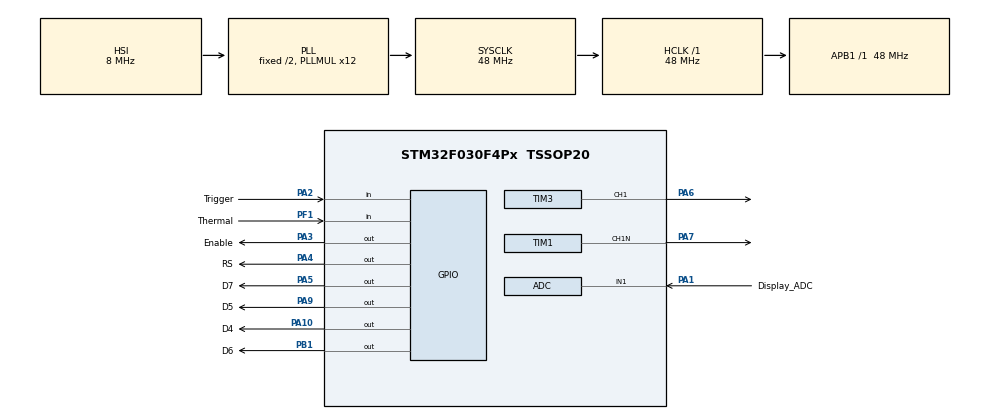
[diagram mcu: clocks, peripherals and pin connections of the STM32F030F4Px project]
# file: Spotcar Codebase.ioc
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ADC.ContinuousConvMode=ENABLE
ADC.DMAContinuousRequests=ENABLE
ADC.ExternalTrigConv=ADC_SOFTWARE_START
ADC.SamplingTime=ADC_SAMPLETIME_239CYCLES_5
Dma.ADC.0.Direction=DMA_PERIPH_TO_MEMORY
Dma.ADC.0.Instance=DMA1_Channel1
Dma.ADC.0.MemDataAlignment=DMA_MDATAALIGN_HALFWORD
Dma.ADC.0.MemInc=DMA_MINC_ENABLE
Dma.ADC.0.Mode=DMA_CIRCULAR
Dma.ADC.0.PeriphDataAlignment=DMA_PDATAALIGN_HALFWORD
Dma.ADC.0.PeriphInc=DMA_PINC_DISABLE
Dma.ADC.0.Priority=DMA_PRIORITY_LOW
Dma.Request0=ADC
Mcu.Family=STM32F0
Mcu.Name=STM32F030F4Px
Mcu.Package=TSSOP20
NVIC.DMA1_Channel1_IRQn=true\:0\:0\:false\:false\:true\:false\:true\:true
PA1.GPIO_Label=Display_ADC
PA1.Mode=IN1
PA1.Signal=ADC_IN1
PA10.GPIO_Label=D4
PA10.Signal=GPIO_Output
PA13.Mode=Serial_Wire
PA13.Signal=SYS_SWDIO
PA14.Mode=Serial_Wire
PA14.Signal=SYS_SWCLK
PA2.GPIO_Label=Trigger
PA2.Signal=GPIO_Input
PA3.GPIO_Label=Enable
PA3.Signal=GPIO_Output
PA4.GPIO_Label=RS
PA4.Signal=GPIO_Output
PA5.GPIO_Label=D7
PA5.Signal=GPIO_Output
PA6.Signal=S_TIM3_CH1
PA7.Mode=PWM Generation1 CH1N
PA7.Signal=TIM1_CH1N
PA9.GPIO_Label=D5
PA9.Signal=GPIO_Output
PB1.GPIO_Label=D6
PB1.Signal=GPIO_Output
PF1-OSC_OUT.GPIO_Label=Thermal
PF1-OSC_OUT.Signal=GPIO_Input
ProjectManager.HeapSize=0x200
ProjectManager.StackSize=0x400
ProjectManager.TargetToolchain=STM32CubeIDE
RCC.AHBFreq_Value=48000000
RCC.APB1Freq_Value=48000000
RCC.APB1TimFreq_Value=48000000
RCC.HCLKFreq_Value=48000000
RCC.PLLMUL=RCC_PLL_MUL12
RCC.SYSCLKFreq_VALUE=48000000
RCC.SYSCLKSource=RCC_SYSCLKSOURCE_PLLCLK
SH.S_TIM3_CH1.0=TIM3_CH1,PWM Generation1 CH1
TIM1.AutoReloadPreload=TIM_AUTORELOAD_PRELOAD_ENABLE
TIM1.Channel-Output\ Compare2\ No\ Output=TIM_CHANNEL_2
TIM1.Channel-PWM\ Generation1\ CH1N=TIM_CHANNEL_1
TIM1.ClockDivision=TIM_CLOCKDIVISION_DIV1
TIM1.CounterMode=TIM_COUNTERMODE_CENTERALIGNED1
TIM1.OC2Preload=ENABLE
TIM1.OCMode_2=TIM_OCMODE_TOGGLE
TIM1.OCMode_PWM-PWM\ Generation1\ CH1N=TIM_OCMODE_PWM1
TIM1.OCNPolarity_1=TIM_OCNPOLARITY_HIGH
TIM1.Period=600
TIM1.Pulse-Output\ Compare2\ No\ Output=600
TIM1.Pulse-PWM\ Generation1\ CH1N=0
TIM1.TIM_MasterOutputTrigger=TIM_TRGO_OC2REF
TIM1.TIM_MasterSlaveMode=TIM_MASTERSLAVEMODE_ENABLE
TIM3.AutoReloadPreload=TIM_AUTORELOAD_PRELOAD_ENABLE
TIM3.Channel-PWM\ Generation1\ CH1=TIM_CHANNEL_1
TIM3.ClockDivision=TIM_CLOCKDIVISION_DIV1
TIM3.CounterMode=TIM_COUNTERMODE_CENTERALIGNED1
TIM3.Period=600
TIM3.Pulse-PWM\ Generation1\ CH1=0
TIM3.TIM_MasterOutputTrigger=TIM_TRGO_RESET
TIM3.TIM_MasterSlaveMode=TIM_MASTERSLAVEMODE_ENABLE
VP_TIM1_VS_ClockSourceINT.Mode=Internal
VP_TIM1_VS_no_output2.Mode=Output Compare2 No Output
VP_TIM3_VS_ClockSourceINT.Mode=Internal
VP_TIM3_VS_ClockSourceITR.Mode=TriggerSource_ITR0
VP_TIM3_VS_ControllerModeReset.Mode=Reset Mode
board=custom

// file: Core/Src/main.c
/* USER CODE BEGIN Header */
/**
  ******************************************************************************
  * @file           : main.c
  * @brief          : Main program body
  ******************************************************************************
  * @attention
  *
  * Copyright (c) 2026 STMicroelectronics.
  * All rights reserved.
  *
  * This software is licensed under terms that can be found in the LICENSE file
  * in the root directory of this software component.
  * If no LICENSE file comes with this software, it is provided AS-IS.
  *
  ******************************************************************************
  */
/* USER CODE END Header */
#include "main.h"
#include "adc.h"
#include "dma.h"
#include "tim.h"
#include "gpio.h"

/* USER CODE BEGIN Includes */
#include "HD44780.h"
#include "menu.h"
/* USER CODE END Includes */

/* USER CODE BEGIN PV */
uint16_t ADC_Readouts[2];
pin_s data_pins[] = {{D4_Pin, D4_GPIO_Port}, {D5_Pin, D5_GPIO_Port}, {D6_Pin, D6_GPIO_Port}, {D7_Pin, D7_GPIO_Port}};
pin_s e_rs_pins[] = {{Enable_Pin, Enable_GPIO_Port}, {RS_Pin, RS_GPIO_Port}};

uint32_t triggered = 0;
static uint32_t s_current = 0;
/* USER CODE END PV */

void SystemClock_Config(void);

int main(void)
{

  /* MCU Configuration--------------------------------------------------------*/

  /* Reset of all peripherals, Initializes the Flash interface and the Systick. */
  HAL_Init();

  /* Configure the system clock */
  SystemClock_Config();

  /* Initialize all configured peripherals */
  MX_GPIO_Init();
  MX_DMA_Init();
  MX_ADC_Init();
  MX_TIM1_Init();
  MX_TIM3_Init();
  /* USER CODE BEGIN 2 */
  //ADC_Calibrate(&hadc);
  HAL_ADC_Start_DMA(&hadc, (uint32_t*)ADC_Readouts, 2);
  HD_Init(data_pins, e_rs_pins);
  Set_Trigger_Pin(Trigger_Pin, Trigger_GPIO_Port);
  /* USER CODE END 2 */

  /* Infinite loop */
  /* USER CODE BEGIN WHILE */

  Write_Intro();

  uint32_t last_updated = HAL_GetTick();
  uint32_t last_trigger_check = HAL_GetTick();
  uint32_t last_heating_trigger = HAL_GetTick();
  uint32_t Pulse = 0;

  volatile uint32_t trigger_time = 100;

  Set_Trigger_Time(&trigger_time);

  SET_DUTY_CYCLE(0);

  HAL_TIMEx_PWMN_Start(&htim1, TIM_CHANNEL_1);
  HAL_TIM_PWM_Start(&htim3, TIM_CHANNEL_1);

  while (1)
  {

	  while(HAL_GPIO_ReadPin(Thermal_GPIO_Port, Thermal_Pin)){
		  HD_Write_4_Lines("  PROTECAO TERMICA", "      ATIVADA", "", "   RESFRIANDO");
		  HAL_Delay(500);
		  HD_Set_Cursor(LINE_4 + 13);
		  HD_Write(".");
		  HAL_Delay(500);
		  HD_Write(".");
		  HAL_Delay(500);
		  HD_Write(".");
		  HAL_Delay(500);
		  HD_Set_Cursor(LINE_4 + 13);
		  HD_Write("   ");
		  Set_Thermal_Flag();
	  }

	  if ((HAL_GetTick() - last_updated) > 200){
		  Read_Button_State(ADC_Readouts[1]);
		  Menu_Logic_Handler();

		  last_updated = HAL_GetTick();
	  }

	  // Checks if it needs to update at the start of the function
	  Menu_Update_Display();
	  // Trigger
	  if(((HAL_GetTick() - last_trigger_check) > 150) & Is_Trigger_Ready()){
	  		//ADC_Calibrate(&hadc);

		  // Preaquecer a peça

		  Operation_Mode op_mode = Get_Op_Mode();

		  switch (op_mode){
		  case OP_ESTRELA:
			  SET_DUTY_CYCLE(225);

			  HAL_Delay(10);
			  break;
		  case OP_ARRUELA:
			  break;
			  SET_DUTY_CYCLE(100);

			  HAL_Delay(10);
			  break;
		  default:
			  break;
		  }

		  SET_DUTY_CYCLE(0);

		  HAL_Delay(2);

		  last_trigger_check = HAL_GetTick();
		  Pulse = Current_Get_Compare();

		  SET_DUTY_CYCLE(Pulse);

		  if((op_mode == OP_AQUECIMENTO) | (op_mode == OP_PARAFIX)){
			  last_heating_trigger = HAL_GetTick();
			  while ((HAL_GPIO_ReadPin(Trigger_GPIO_Port, Trigger_Pin) == GPIO_PIN_RESET) & ((HAL_GetTick() - last_heating_trigger) < 5000)){
			  		__NOP();
			  	}

		  } else{
			  HAL_Delay(trigger_time);
		  }

		  SET_DUTY_CYCLE(0);

		  if((op_mode == OP_ESTRELA) | (op_mode == OP_ARRUELA) | (op_mode == OP_AQUECIMENTO)){
			  Hold_Until_Trigger_Release();
		  }
	  }
    /* USER CODE END WHILE */

  }
}

void SystemClock_Config(void)
{
  RCC_OscInitTypeDef RCC_OscInitStruct = {0};
  RCC_ClkInitTypeDef RCC_ClkInitStruct = {0};

  /** Initializes the RCC Oscillators according to the specified parameters
  * in the RCC_OscInitTypeDef structure.
  */
  RCC_OscInitStruct.OscillatorType = RCC_OSCILLATORTYPE_HSI|RCC_OSCILLATORTYPE_HSI14;
  RCC_OscInitStruct.HSIState = RCC_HSI_ON;
  RCC_OscInitStruct.HSI14State = RCC_HSI14_ON;
  RCC_OscInitStruct.HSICalibrationValue = RCC_HSICALIBRATION_DEFAULT;
  RCC_OscInitStruct.HSI14CalibrationValue = 16;
  RCC_OscInitStruct.PLL.PLLState = RCC_PLL_ON;
  RCC_OscInitStruct.PLL.PLLSource = RCC_PLLSOURCE_HSI;
  RCC_OscInitStruct.PLL.PLLMUL = RCC_PLL_MUL12;
  RCC_OscInitStruct.PLL.PREDIV = RCC_PREDIV_DIV1;
  if (HAL_RCC_OscConfig(&RCC_OscInitStruct) != HAL_OK)
  {
    Error_Handler();
  }

  /** Initializes the CPU, AHB and APB buses clocks
  */
  RCC_ClkInitStruct.ClockType = RCC_CLOCKTYPE_HCLK|RCC_CLOCKTYPE_SYSCLK
                              |RCC_CLOCKTYPE_PCLK1;
  RCC_ClkInitStruct.SYSCLKSource = RCC_SYSCLKSOURCE_PLLCLK;
  RCC_ClkInitStruct.AHBCLKDivider = RCC_SYSCLK_DIV1;
  RCC_ClkInitStruct.APB1CLKDivider = RCC_HCLK_DIV1;

  if (HAL_RCC_ClockConfig(&RCC_ClkInitStruct, FLASH_LATENCY_1) != HAL_OK)
  {
    Error_Handler();
  }
}

/* USER CODE BEGIN 4 */
void HAL_ADC_ConvCpltCallback(ADC_HandleTypeDef* hadc){
	 s_current = (ADC_Readouts[0]*3300*124)>>12;
}
/*
void HAL_TIM_OC_DelayElapsedCallback(TIM_HandleTypeDef *htim)
{
    if (htim->Instance == TIM14 && htim->Channel == HAL_TIM_ACTIVE_CHANNEL_1)
    {
        // The hardware has already automatically stopped counting.
        // Clean up the software driver flag so it's clean for the next run:
        HAL_TIM_OC_Stop_IT(htim, TIM_CHANNEL_1);

        // Halt PWM generation from tim1 and tim3
        HAL_TIM_PWM_Stop(&htim3, TIM_CHANNEL_1);
        HAL_TIMEx_PWMN_Stop(&htim1, TIM_CHANNEL_1);
        triggered = 0;
    }
}
*/
/* USER CODE END 4 */

void Error_Handler(void)
{
  __disable_irq();
  while (1)
  {
  }
}
